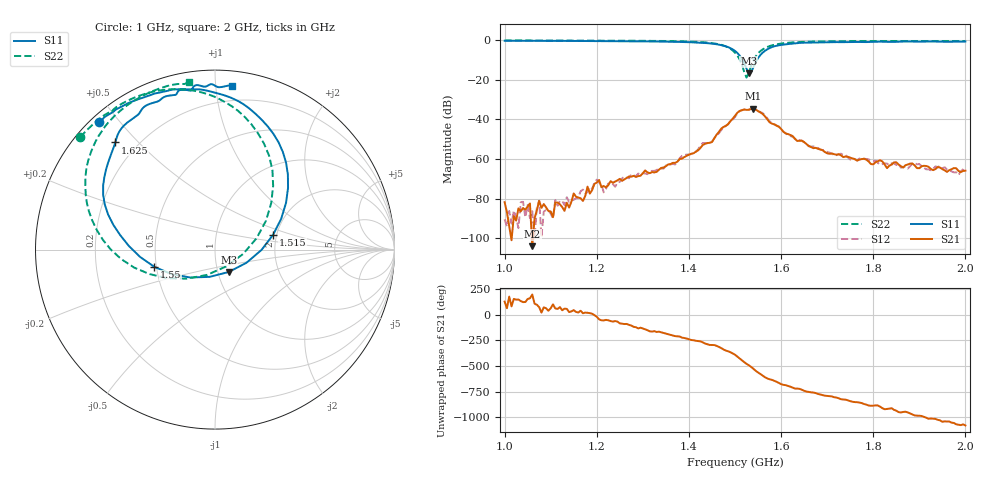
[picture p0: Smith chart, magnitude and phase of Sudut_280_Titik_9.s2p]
# Hz S RI R 50
! CMT, C1220, 16058040, 17.2.0/1
! Date: 14/08/2018 11:58:51
! Data: Format (Calibration Info)
! Freq  S11: Re/Im (F2)  S21: Re/Im (F2)  S12: Re/Im (F2)  S22: Re/Im (F2)
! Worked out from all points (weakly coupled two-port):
!   201 points, 1 GHz to 2 GHz, reference 50 ohm
!   highest |S21| = -34.63 dB at 1.54 GHz (marker M1); lowest = -104.0 dB at 1.06 GHz (marker M2)
!   lowest |S11| = -16.7 dB at 1.53 GHz (marker M3), VSWR 1.34, Z = 56.3 - j14.3 ohm
!   |S11| at or under -10 dB: 1.516 GHz to 1.548 GHz (31.67 MHz wide, 2.07 % of centre)
!   |S22| runs from -19.0 to -0.2 dB; largest |S21 - S12| = 0.00081
!   S11 on the Smith chart (normalised r, x): 1 GHz: 0.02, +0.44; 1.515 GHz: 1.91, +0.36; 1.55 GHz: 0.49, -0.11; 1.625 GHz: 0.12, +0.43; 2 GHz: 0.10, +1.10
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1e9  -0.6446 0.7124  -4.96e-05 6.41e-05  -1.99e-05 -2.25e-05  -0.7501 0.6268
1.06e9  -0.5863 0.7559  -6.03e-06 -1.77e-06  -1.14e-05 4.68e-05  -0.7084 0.6713
1.155e9  -0.4897 0.813  9.9e-05 5.01e-05  8.53e-05 5.48e-05  -0.6278 0.7413
1.17e9  -0.4719 0.8209  8.43e-05 2.12e-05  0.000155 6.59e-05  -0.6124 0.752
1.18e9  -0.455 0.8278  0.000189 6.48e-05  0.000143 -2.3e-05  -0.6011 0.7584
1.205e9  -0.4251 0.8382  0.000209 -0.000207  0.000161 -0.000193  -0.576 0.7662
1.215e9  -0.416 0.8413  0.000117 -0.000171  8.1e-05 -0.000119  -0.5715 0.7735
1.26e9  -0.3415 0.8677  -4.2e-06 -0.000304  1.33e-05 -0.000358  -0.5181 0.8133
1.335e9  -0.2141 0.8928  -0.000517 -0.000137  -0.00056 -4.23e-05  -0.3957 0.8659
1.45e9  0.18 0.7948  0.00109 0.00243  0.00126 0.00242  0.0262 0.838
1.5e9  0.407 0.3435  0.0107 -0.00599  0.01 -0.00561  0.324 0.3548
1.515e9  0.3241 0.0832  0.00177 -0.0168  0.00226 -0.0169  0.2316 0.0631
1.525e9  0.1749 -0.0737  -0.00825 -0.0152  -0.00821 -0.0154  0.0622 -0.0938
1.53e9  0.0762 -0.1247  -0.0116 -0.013  -0.0116 -0.0132  -0.0441 -0.1408
1.54e9  -0.1372 -0.1556  -0.018 -0.00444  -0.0179 -0.00453  -0.2657 -0.1596
1.55e9  -0.3374 -0.0965  -0.0149 0.00604  -0.0152 0.00552  -0.4506 -0.1001
1.58e9  -0.6144 0.2523  0.000504 0.00776  0.000868 0.00801  -0.7028 0.2142
1.625e9  -0.5555 0.5971  0.00372 0.000699  0.00353 0.000774  -0.6982 0.5222
1.67e9  -0.4422 0.7411  0.00148 -0.00114  0.00163 -0.00126  -0.6207 0.6745
1.835e9  -0.1458 0.8868  -0.000656 0.000165  -0.000624 0.000309  -0.3705 0.8729
1.985e9  0.0734 0.9136  0.000492 8.22e-05  0.000376 0.000119  -0.1658 0.9241
2e9  0.0934 0.9122  0.000505 2e-05  0.000625 3.74e-05  -0.1468 0.9312
